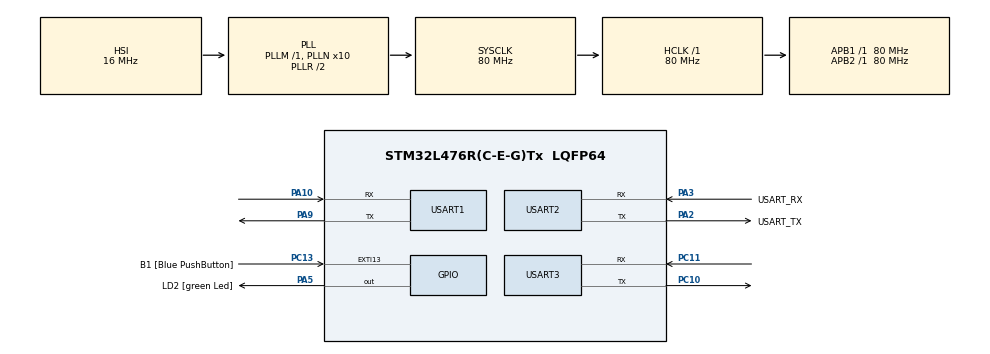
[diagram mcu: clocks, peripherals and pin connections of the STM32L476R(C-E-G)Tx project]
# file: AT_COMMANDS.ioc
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Mcu.Family=STM32L4
Mcu.Name=STM32L476R(C-E-G)Tx
Mcu.Package=LQFP64
NVIC.PriorityGroup=NVIC_PRIORITYGROUP_4
NVIC.USART1_IRQn=true\:0\:0\:false\:false\:true\:true\:true
NVIC.USART2_IRQn=true\:0\:0\:false\:false\:true\:true\:true
NVIC.USART3_IRQn=true\:0\:0\:false\:false\:true\:true\:true
PA10.Mode=Asynchronous
PA10.Signal=USART1_RX
PA13\ (JTMS-SWDIO).GPIO_Label=TMS
PA13\ (JTMS-SWDIO).Signal=SYS_JTMS-SWDIO
PA14\ (JTCK-SWCLK).GPIO_Label=TCK
PA14\ (JTCK-SWCLK).Signal=SYS_JTCK-SWCLK
PA2.GPIO_Label=USART_TX
PA2.GPIO_Mode=GPIO_MODE_AF_PP
PA2.GPIO_PuPd=GPIO_NOPULL
PA2.GPIO_Speed=GPIO_SPEED_FREQ_VERY_HIGH
PA2.Mode=Asynchronous
PA2.Signal=USART2_TX
PA3.GPIO_Label=USART_RX
PA3.GPIO_Mode=GPIO_MODE_AF_PP
PA3.GPIO_PuPd=GPIO_NOPULL
PA3.GPIO_Speed=GPIO_SPEED_FREQ_VERY_HIGH
PA3.Mode=Asynchronous
PA3.Signal=USART2_RX
PA5.GPIO_Label=LD2 [green Led]
PA5.GPIO_ModeDefaultOutputPP=GPIO_MODE_OUTPUT_PP
PA5.GPIO_PuPd=GPIO_NOPULL
PA5.GPIO_Speed=GPIO_SPEED_FREQ_LOW
PA5.Signal=GPIO_Output
PA9.Mode=Asynchronous
PA9.Signal=USART1_TX
PB3\ (JTDO-TRACESWO).GPIO_Label=SWO
PB3\ (JTDO-TRACESWO).Signal=SYS_JTDO-SWO
PC10.Mode=Asynchronous
PC10.Signal=USART3_TX
PC11.Mode=Asynchronous
PC11.Signal=USART3_RX
PC13.GPIO_Label=B1 [Blue PushButton]
PC13.GPIO_ModeDefaultEXTI=GPIO_MODE_IT_FALLING
PC13.GPIO_PuPd=GPIO_NOPULL
PC13.Signal=GPXTI13
PC14-OSC32_IN\ (PC14).Signal=RCC_OSC32_IN
PC15-OSC32_OUT\ (PC15).Signal=RCC_OSC32_OUT
PH0-OSC_IN\ (PH0).Signal=RCC_OSC_IN
PH1-OSC_OUT\ (PH1).Signal=RCC_OSC_OUT
ProjectManager.HeapSize=0x200
ProjectManager.StackSize=0x400
ProjectManager.TargetToolchain=STM32CubeIDE
RCC.ADCFreq_Value=64000000
RCC.AHBFreq_Value=80000000
RCC.APB1Freq_Value=80000000
RCC.APB1TimFreq_Value=80000000
RCC.APB2Freq_Value=80000000
RCC.APB2TimFreq_Value=80000000
RCC.CortexFreq_Value=80000000
RCC.HCLKFreq_Value=80000000
RCC.HSE_VALUE=8000000
RCC.HSI_VALUE=16000000
RCC.LSE_VALUE=32768
RCC.MSI_VALUE=4000000
RCC.PLLN=10
RCC.PLLSourceVirtual=RCC_PLLSOURCE_HSI
RCC.PREFETCH_ENABLE=1
RCC.SYSCLKFreq_VALUE=80000000
RCC.SYSCLKSource=RCC_SYSCLKSOURCE_PLLCLK
RCC.USBFreq_Value=64000000
RCC.VCOOutputFreq_Value=160000000
USART1.VirtualMode-Asynchronous=VM_ASYNC
USART2.VirtualMode-Asynchronous=VM_ASYNC
USART3.VirtualMode-Asynchronous=VM_ASYNC
board=NUCLEO-L476RG

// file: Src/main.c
/* USER CODE BEGIN Header */
/**
  ******************************************************************************
  * @file           : main.c
  * @brief          : Main program body
  ******************************************************************************
  * @attention
  *
  * <h2><center>&copy; Copyright (c) 2019 STMicroelectronics.
  * All rights reserved.</center></h2>
  *
  * This software component is licensed by ST under BSD 3-Clause license,
  * the "License"; You may not use this file except in compliance with the
  * License. You may obtain a copy of the License at:
  *                        opensource.org/licenses/BSD-3-Clause
  *
  ******************************************************************************
  */
/* USER CODE END Header */

#include "main.h"
#include "usart.h"
#include "gpio.h"

/* USER CODE BEGIN Includes */
#include <string.h>
#include <stdlib.h>
#include <stdio.h>
#include "ringbuffer.h"
/* USER CODE END Includes */

/* USER CODE BEGIN PD */
#define WELCOME_MSG "Welcome to the Nucleo management console\r\n"
#define MAIN_MENU   "Select the option you are interested in:\r\n\t1. Toggle LD2 LED\r\n\t2. Read USER BUTTON status\r\n\t3. Clear screen and print this message "
#define PROMPT "\r\n> "
/* USER CODE END PD */

/* USER CODE BEGIN PV */
int8_t cntcmd = 0;
int8_t cntcmd2 = 0;
int8_t counter =0;
int8_t uartrxcnt=0;
char cnt[10];
//int8_t cmdcompleto = 0;
char command[64];
char command2[64];
char readBuf[1];
char readBuf2[1];
char newline[2] = "\r\n";
uint8_t txData;
__IO ITStatus UartReadyTx2 = SET;
__IO ITStatus UartReadyRx2 = SET;
__IO ITStatus UartReadyTx3 = SET;
__IO ITStatus UartReadyRx3 = SET;
RingBuffer txBuf, rxBuf;
/* USER CODE END PV */

void SystemClock_Config(void);
/* USER CODE BEGIN PFP */
void printWelcomeMessage(void);
int8_t readUserInput(void);
int8_t readLoraInput(void);
uint8_t processUserInput(int8_t opt);
uint8_t UART_Transmit(UART_HandleTypeDef *huart, uint8_t *pData, uint16_t len);
/* USER CODE END PFP */

int main(void)
{
  /* USER CODE BEGIN 1 */

	uint8_t opt = 0;
	uint8_t opt2 = 0;
  /* USER CODE END 1 */

  /* MCU Configuration--------------------------------------------------------*/

  /* Reset of all peripherals, Initializes the Flash interface and the Systick. */
  HAL_Init();

  /* Configure the system clock */
  SystemClock_Config();

  /* Initialize all configured peripherals */
  MX_GPIO_Init();
  MX_USART2_UART_Init();
  MX_USART3_UART_Init();
  MX_USART1_UART_Init();
  /* USER CODE BEGIN 2 */

  //HAL_NVIC_SetPriority(USART2_IRQn, 0, 0);
  //HAL_NVIC_EnableIRQ(USART2_IRQn);
  //HAL_NVIC_SetPriority(USART3_IRQn, 0, 0);
  //HAL_NVIC_EnableIRQ(USART3_IRQn);

  //printMessage:
  	  printWelcomeMessage();
  	  HAL_GPIO_WritePin(GPIOA, GPIO_PIN_5, SET);
  	  HAL_Delay(10000);
  	  HAL_GPIO_WritePin(GPIOA, GPIO_PIN_5, RESET);
	  HAL_UART_Receive_IT(&huart1, (uint8_t*)readBuf, 1);

  /* USER CODE END 2 */

  /* Infinite loop */
  while (1)
  {

    /* USER CODE BEGIN 3 */
	  //opt = readUserInput();

	  if(UartReadyRx2 == SET){
		UartReadyRx2 = RESET;

		if(readBuf[0]=='\r'){
			HAL_GPIO_TogglePin(GPIOA, GPIO_PIN_5);
			//HAL_GPIO_TogglePin(GPIOA, GPIO_PIN_5);
			command[cntcmd]=readBuf[0];
			cntcmd++;
			command[cntcmd]='\n';
			readBuf[0]=0;

			//UART_Transmit(&huart1, (uint8_t*)command, cntcmd);
			//while (HAL_UART_GetState(&huart1) == HAL_UART_STATE_BUSY_TX || HAL_UART_GetState(&huart1) == HAL_UART_STATE_BUSY_TX_RX);
			//UART_Transmit(&huart1, (uint8_t*)newline, strlen(newline));
			//while (HAL_UART_GetState(&huart1) == HAL_UART_STATE_BUSY_TX || HAL_UART_GetState(&huart1) == HAL_UART_STATE_BUSY_TX_RX);

			//HAL_UART_Transmit(&huart2, (uint8_t*)command, strlen(command), HAL_MAX_DELAY);
			//HAL_UART_Transmit(&huart3, (uint8_t*)command, strlen(command), HAL_MAX_DELAY);
			UART_Transmit(&huart3, (uint8_t*)command, cntcmd);
			while (HAL_UART_GetState(&huart3) == HAL_UART_STATE_BUSY_TX || HAL_UART_GetState(&huart3) == HAL_UART_STATE_BUSY_TX_RX);
			//UART_Transmit(&huart3, (uint8_t*)newline, strlen(newline));
			//while (HAL_UART_GetState(&huart3) == HAL_UART_STATE_BUSY_TX || HAL_UART_GetState(&huart3) == HAL_UART_STATE_BUSY_TX_RX);
			//Enter Reception Mode For UART3

			HAL_UART_Receive_IT(&huart3, (uint8_t*)readBuf2, 1);
			cntcmd = 0;
			for (int8_t i = 0; i < sizeof(command)/sizeof(command[0]); i++){
				command[i] = 0;
			}
		}else {
			command[cntcmd]=readBuf[0];
			cntcmd++;
			readBuf[0]=0;
			HAL_UART_Receive_IT(&huart1, (uint8_t*)readBuf, 1);
		}

		  //HAL_GPIO_TogglePin(GPIOA, GPIO_PIN_5);

	  }

	if(UartReadyRx3 == SET){
		UartReadyRx3 = RESET;
		if(readBuf2[0]== '#'){
			command2[cntcmd2]=readBuf2[0];
			cntcmd2++;
			command2[cntcmd2]='\n';
			readBuf2[0]=0;
			//uartrxcnt++;

			UART_Transmit(&huart1, (uint8_t*)command2, cntcmd2);
			while (HAL_UART_GetState(&huart1) == HAL_UART_STATE_BUSY_TX || HAL_UART_GetState(&huart1) == HAL_UART_STATE_BUSY_TX_RX);
			//UART_Transmit(&huart1, (uint8_t*)newline, strlen(newline));
			//while (HAL_UART_GetState(&huart1) == HAL_UART_STATE_BUSY_TX || HAL_UART_GetState(&huart1) == HAL_UART_STATE_BUSY_TX_RX);
			//RETURN TO RX MODE FOR UART2

			//if(uartrxcnt==2){
			HAL_UART_Receive_IT(&huart1, (uint8_t*)readBuf, 1);
			//	uartrxcnt=0;
			//}else{
			//HAL_UART_Receive_IT(&huart3, (uint8_t*)readBuf, 1);
			//}
			cntcmd2 = 0;
			for (int8_t i = 0; i < sizeof(command2)/sizeof(command2[0]); i++){
				command2[i] = 0;
			}
		}else {
			command2[cntcmd2]=readBuf2[0];
			cntcmd2++;
			readBuf2[0]=0;
			HAL_UART_Receive_IT(&huart3, (uint8_t*)readBuf2, 1);
		}

		  //counter++;
		  //itoa(counter,cnt,10);
		  //UART_Transmit(&huart2, (uint8_t*)cnt, strlen(cnt));
		  //while (HAL_UART_GetState(&huart2) == HAL_UART_STATE_BUSY_TX || HAL_UART_GetState(&huart2) == HAL_UART_STATE_BUSY_TX_RX);
		  //UART_Transmit(&huart2, (uint8_t*)newline, strlen(newline));
		  //while (HAL_UART_GetState(&huart2) == HAL_UART_STATE_BUSY_TX || HAL_UART_GetState(&huart2) == HAL_UART_STATE_BUSY_TX_RX);
		  //HAL_GPIO_TogglePin(GPIOA, GPIO_PIN_5);

	  }

  }
  /* USER CODE END 3 */
}

void SystemClock_Config(void)
{
  RCC_OscInitTypeDef RCC_OscInitStruct = {0};
  RCC_ClkInitTypeDef RCC_ClkInitStruct = {0};
  RCC_PeriphCLKInitTypeDef PeriphClkInit = {0};

  /** Initializes the CPU, AHB and APB busses clocks
  */
  RCC_OscInitStruct.OscillatorType = RCC_OSCILLATORTYPE_HSI;
  RCC_OscInitStruct.HSIState = RCC_HSI_ON;
  RCC_OscInitStruct.HSICalibrationValue = RCC_HSICALIBRATION_DEFAULT;
  RCC_OscInitStruct.PLL.PLLState = RCC_PLL_ON;
  RCC_OscInitStruct.PLL.PLLSource = RCC_PLLSOURCE_HSI;
  RCC_OscInitStruct.PLL.PLLM = 1;
  RCC_OscInitStruct.PLL.PLLN = 10;
  RCC_OscInitStruct.PLL.PLLP = RCC_PLLP_DIV7;
  RCC_OscInitStruct.PLL.PLLQ = RCC_PLLQ_DIV2;
  RCC_OscInitStruct.PLL.PLLR = RCC_PLLR_DIV2;
  if (HAL_RCC_OscConfig(&RCC_OscInitStruct) != HAL_OK)
  {
    Error_Handler();
  }
  /** Initializes the CPU, AHB and APB busses clocks
  */
  RCC_ClkInitStruct.ClockType = RCC_CLOCKTYPE_HCLK|RCC_CLOCKTYPE_SYSCLK
                              |RCC_CLOCKTYPE_PCLK1|RCC_CLOCKTYPE_PCLK2;
  RCC_ClkInitStruct.SYSCLKSource = RCC_SYSCLKSOURCE_PLLCLK;
  RCC_ClkInitStruct.AHBCLKDivider = RCC_SYSCLK_DIV1;
  RCC_ClkInitStruct.APB1CLKDivider = RCC_HCLK_DIV1;
  RCC_ClkInitStruct.APB2CLKDivider = RCC_HCLK_DIV1;

  if (HAL_RCC_ClockConfig(&RCC_ClkInitStruct, FLASH_LATENCY_4) != HAL_OK)
  {
    Error_Handler();
  }
  PeriphClkInit.PeriphClockSelection = RCC_PERIPHCLK_USART1|RCC_PERIPHCLK_USART2
                              |RCC_PERIPHCLK_USART3;
  PeriphClkInit.Usart1ClockSelection = RCC_USART1CLKSOURCE_PCLK2;
  PeriphClkInit.Usart2ClockSelection = RCC_USART2CLKSOURCE_PCLK1;
  PeriphClkInit.Usart3ClockSelection = RCC_USART3CLKSOURCE_PCLK1;
  if (HAL_RCCEx_PeriphCLKConfig(&PeriphClkInit) != HAL_OK)
  {
    Error_Handler();
  }
  /** Configure the main internal regulator output voltage
  */
  if (HAL_PWREx_ControlVoltageScaling(PWR_REGULATOR_VOLTAGE_SCALE1) != HAL_OK)
  {
    Error_Handler();
  }
}

/* USER CODE BEGIN 4 */

uint8_t UART_Transmit(UART_HandleTypeDef *huart, uint8_t *pData, uint16_t len) {
  if(HAL_UART_Transmit_IT(huart, pData, len) != HAL_OK) {
    if(RingBuffer_Write(&txBuf, pData, len) != RING_BUFFER_OK)
      return 0;
  }
  return 1;
}

void HAL_UART_RxCpltCallback(UART_HandleTypeDef *UartHandle) {

	if(UartHandle->Instance==USART1)
	 {
		UartReadyRx2 = SET;

	 }else if(UartHandle->Instance==USART3)
	 {
		UartReadyRx3 = SET;
	 }
}

void HAL_UART_TxCpltCallback(UART_HandleTypeDef *huart) {

		if(RingBuffer_GetDataLength(&txBuf) > 0) {
			RingBuffer_Read(&txBuf, &txData, 1);
			HAL_UART_Transmit_IT(huart, &txData, 1);
		}

}

void HAL_UART_ErrorCallback(UART_HandleTypeDef *huart) {
  if(huart->ErrorCode == HAL_UART_ERROR_ORE)
    HAL_UART_Receive_IT(huart, (uint8_t *)readBuf, 1);
}

void printWelcomeMessage(void) {
	char *strings[] = {"\033[0;0H", "\033[2J", WELCOME_MSG, MAIN_MENU, PROMPT};

	for (uint8_t i = 0; i < 5; i++) {
		HAL_UART_Transmit_IT(&huart1, (uint8_t*)strings[i], strlen(strings[i]));
		while (HAL_UART_GetState(&huart1) == HAL_UART_STATE_BUSY_TX || HAL_UART_GetState(&huart1) == HAL_UART_STATE_BUSY_TX_RX);
	}
}
/* USER CODE END 4 */

void Error_Handler(void)
{
  /* USER CODE BEGIN Error_Handler_Debug */
  /* User can add his own implementation to report the HAL error return state */

	while(1)
	  {
	    /* Toggle LED2 for error */
		HAL_GPIO_TogglePin(GPIOA, GPIO_PIN_5);
	    HAL_Delay(500);
	  }
  /* USER CODE END Error_Handler_Debug */
}

/************************ (C) COPYRIGHT STMicroelectronics *****END OF FILE****/
